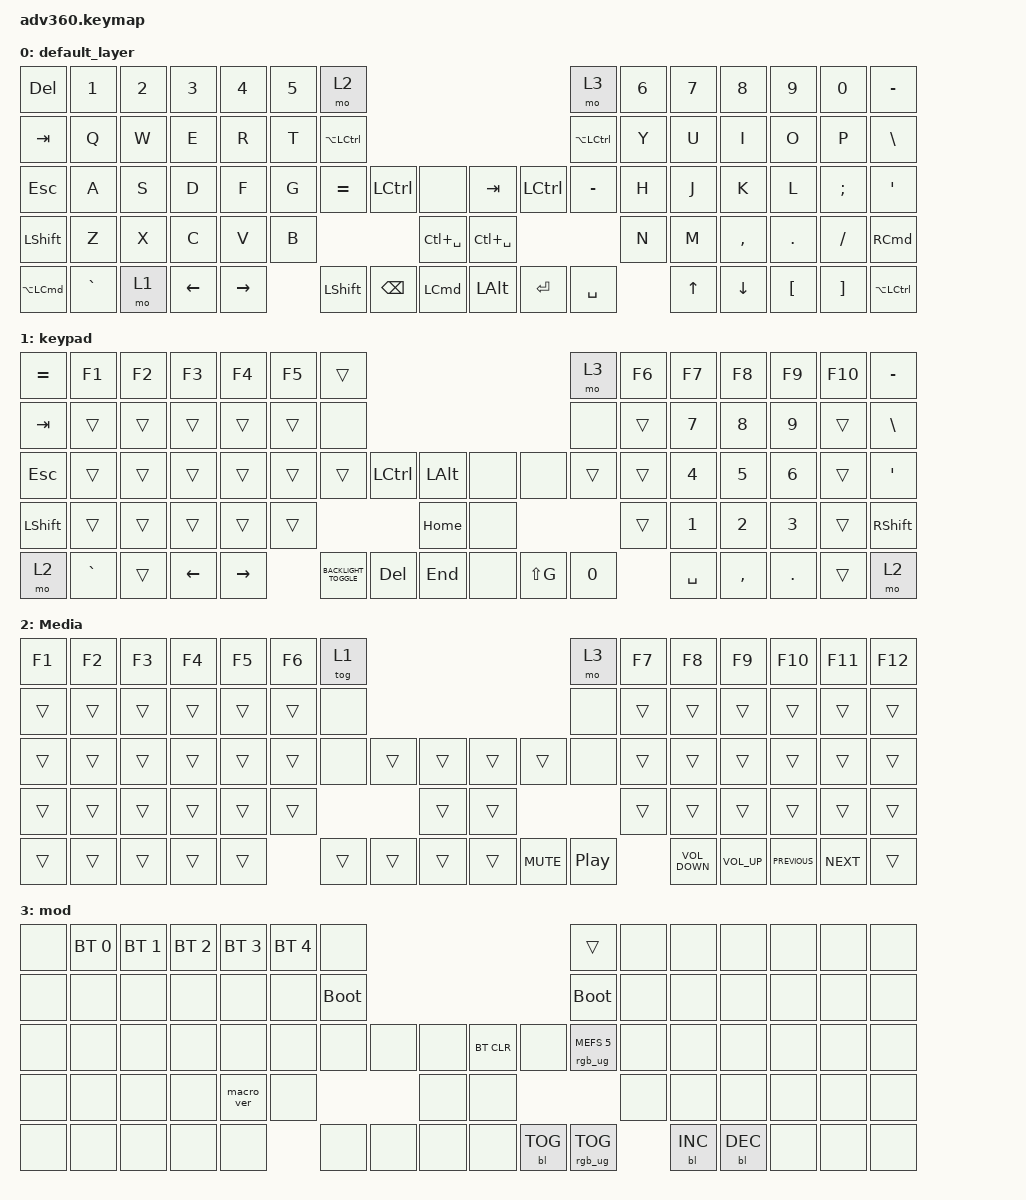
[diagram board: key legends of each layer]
#include <behaviors.dtsi>
#include <dt-bindings/zmk/backlight.h>
#include <dt-bindings/zmk/bt.h>
#include <dt-bindings/zmk/keys.h>
#include <dt-bindings/zmk/rgb.h>

/ {
    behaviors {
        #include "macros.dtsi"
      #include "version.dtsi"
      #ifndef VERSION_MACRO

        macro_ver: macro_ver {
            compatible = "zmk,behavior-macro";
            label = "macro_version";
            #binding-cells = <0>;
            bindings = <&kp RET>;
        };

        #endif

        hm: homerow_mods {
            compatible = "zmk,behavior-hold-tap";
            label = "HOMEROW_MODS";
            #binding-cells = <2>;
            tapping-term-ms = <200>;
            quick_tap_ms = <175>;
            flavor = "tap-preferred";
            bindings = <&kp>, <&kp>;
        };
    };

    macros {
    };

    keymap {
        compatible = "zmk,keymap";

        default_layer {
            bindings = <
&kp DEL       &kp N1     &kp N2  &kp N3    &kp N4     &kp N5  &mo 2                                                                       &mo 3          &kp N6  &kp N7  &kp N8     &kp N9    &kp N0    &kp MINUS
&kp TAB       &kp Q      &kp W   &kp E     &kp R      &kp T   &kp LA(LCTRL)                                                               &kp LA(LCTRL)  &kp Y   &kp U   &kp I      &kp O     &kp P     &kp BACKSLASH
&kp ESC       &kp A      &kp S   &kp D     &kp F      &kp G   &kp EQUAL       &kp LCTRL      &none              &kp TAB        &kp LCTRL  &kp MINUS      &kp H   &kp J   &kp K      &kp L     &kp SEMI  &kp SQT
&kp LSHFT     &kp Z      &kp X   &kp C     &kp V      &kp B                                  &kp LC(SPACE)      &kp LC(SPACE)                            &kp N   &kp M   &kp COMMA  &kp DOT   &kp FSLH  &kp RCMD
&kp LA(LCMD)  &kp GRAVE  &mo 1   &kp LEFT  &kp RIGHT          &kp LEFT_SHIFT  &kp BACKSPACE  &kp LCMD           &kp LEFT_ALT   &kp ENTER  &kp SPACE              &kp UP  &kp DOWN   &kp LBKT  &kp RBKT  &kp LA(LEFT_CONTROL)
            >;
        };

        keypad {
            bindings = <
&kp EQUAL  &kp F1     &kp F2  &kp F3    &kp F4     &kp F5  &trans                                                             &mo 3         &kp F6  &kp F7        &kp F8        &kp F9        &kp F10  &kp MINUS
&kp TAB    &trans     &trans  &trans    &trans     &trans  &none                                                              &none         &trans  &kp NUMBER_7  &kp NUMBER_8  &kp NUMBER_9  &trans   &kp BSLH
&kp ESC    &trans     &trans  &trans    &trans     &trans  &trans                  &kp LCTRL  &kp LALT      &none  &none      &trans        &trans  &kp N4        &kp NUMBER_5  &kp N6        &trans   &kp SQT
&kp LSHFT  &trans     &trans  &trans    &trans     &trans                                     &kp HOME      &none                           &trans  &kp N1        &kp N2        &kp N3        &trans   &kp RSHFT
&mo 2      &kp GRAVE  &trans  &kp LEFT  &kp RIGHT          &kp C_BACKLIGHT_TOGGLE  &kp DEL    &kp END       &none  &kp LS(G)  &kp NUMBER_0          &kp SPACE     &kp COMMA     &kp PERIOD    &trans   &mo 2
            >;
        };

        Media {
            bindings = <
&kp F1  &kp F2  &kp F3  &kp F4  &kp F5  &kp F6  &tog 1                                          &mo 3             &kp F7  &kp F8             &kp F9        &kp F10         &kp F11     &kp F12
&trans  &trans  &trans  &trans  &trans  &trans  &none                                           &none             &trans  &trans             &trans        &trans          &trans      &trans
&trans  &trans  &trans  &trans  &trans  &trans  &none   &trans  &trans      &trans  &trans      &none             &trans  &trans             &trans        &trans          &trans      &trans
&trans  &trans  &trans  &trans  &trans  &trans                  &trans      &trans                                &trans  &trans             &trans        &trans          &trans      &trans
&trans  &trans  &trans  &trans  &trans          &trans  &trans  &trans      &trans  &kp C_MUTE  &kp C_PLAY_PAUSE          &kp C_VOLUME_DOWN  &kp C_VOL_UP  &kp C_PREVIOUS  &kp C_NEXT  &trans
            >;
        };

        mod {
            bindings = <
&none  &bt BT_SEL 0  &bt BT_SEL 1  &bt BT_SEL 2  &bt BT_SEL 3  &bt BT_SEL 4  &none                                                  &trans                  &none  &none       &none       &none  &none  &none
&none  &none         &none         &none         &none         &none         &bootloader                                            &bootloader             &none  &none       &none       &none  &none  &none
&none  &none         &none         &none         &none         &none         &none        &none  &none      &bt BT_CLR  &none       &rgb_ug RGB_MEFS_CMD 5  &none  &none       &none       &none  &none  &none
&none  &none         &none         &none         &macro_ver    &none                             &none      &none                                           &none  &none       &none       &none  &none  &none
&none  &none         &none         &none         &none                       &none        &none  &none      &none       &bl BL_TOG  &rgb_ug RGB_TOG                &bl BL_INC  &bl BL_DEC  &none  &none  &none
            >;
        };
    };
};
